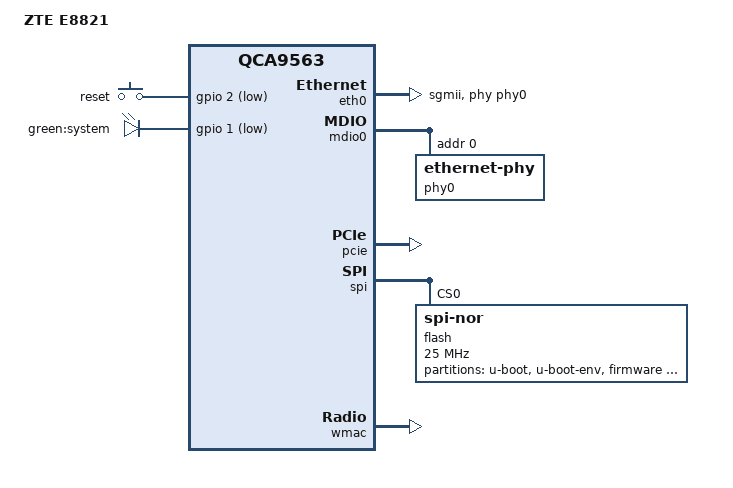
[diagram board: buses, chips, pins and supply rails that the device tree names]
// SPDX-License-Identifier: GPL-2.0-or-later OR MIT
//
// ZTE E8821 (QCA9563 + QCA9882 + QCA8337N, AC1200, 5 x GE)
//
// 骨架来源：OpenWrt master target/linux/ath79/dts/qca9563_yuncore_xd3200.dts
//          + qca9563_yuncore_xd4200.dtsi
// 选择理由（不是"看起来像"，是三项硬指标完全一致）：
//   1) 5G 芯片同族：XD3200 用 ath10k-firmware-qca988x-ct  → 9880/9882
//      而 XD4200 用 qca9888-ct → 9886/9888，两者校准格式不同，不能混用
//   2) 5G 校准同长度：art 0x5000 起 0x844 字节（9888 是 0x2f20，差 5.7 倍）
//   3) Flash 布局同为 16MB：u-boot 0x0/0x40000 + u-boot-env + firmware 0x50000/0xfa0000 + art 0xff0000
//
// 与 master 版 XD3200 的差异（因 18.06-k5.4 是内核 5.4，用 hotplug 提校准而非 nvmem-cells）：
//   - master 里 &pcie 的 wifi@0,0 { nvmem-cells = <&cal_art_5000> } 在 18.06 下改为空 &pcie，
//     校准由 11-ath10k-caldata 输出 ath10k/cal-pci-0000:00:00.0.bin 完成
//   - master 里 &wmac { nvmem-cells = <&cal_art_1000> } 在 18.06 下写作 mtd-cal-data = <&art 0x1000>
//
// ⚠️ 待实测项（不能猜，标 TODO）：
//   - LED / 复位键 GPIO
//   - 交换机端口映射（哪口是 WAN）→ 02_network 里由 diy-part2.sh [25] 段注入，
//     现按 ath79 5 口标准写法 "0@eth0" "1:lan" "2:lan" "3:lan" "4:lan" "5:wan"
//   - art 分区偏移（16MB 硬改 + breed 0x5000 布局，通常 0xff0000）

#include "qca956x.dtsi"

#include <dt-bindings/gpio/gpio.h>
#include <dt-bindings/input/input.h>

/ {
	compatible = "zte,e8821", "qca,qca9563";
	model = "ZTE E8821";

	aliases {
		label-mac-device = &eth0;
		led-boot = &led_system;
		led-failsafe = &led_system;
		led-running = &led_system;
		led-upgrade = &led_system;
	};

	keys {
		compatible = "gpio-keys";

		reset {
			label = "reset";
			linux,code = <KEY_RESTART>;
			// TODO: E8821 实测。沿用 XD4200 参考设计的 GPIO2，错了会导致
			//       无法长按复位 / 误触发，但不影响开机。
			gpios = <&gpio 2 GPIO_ACTIVE_LOW>;
			debounce-interval = <60>;
		};
	};

	leds {
		compatible = "gpio-leds";

		led_system: system {
			label = "green:system";
			// TODO: E8821 实测。XD3200 用 GPIO1(低有效)，E8821 灯位需对表。
			gpios = <&gpio 1 GPIO_ACTIVE_LOW>;
			default-state = "keep";
		};
	};
};

&eth0 {
	status = "okay";

	pll-data = <0x03000101 0x00000101 0x00001919>;

	nvmem-cells = <&macaddr_art_0>;
	nvmem-cell-names = "mac-address";
	phy-mode = "sgmii";
	phy-handle = <&phy0>;
};

&mdio0 {
	status = "okay";

	phy-mask = <0>;

	// QCA8337N：port0 走 SGMII 接 SoC eth0（PORT0 PAD MODE CTRL = 0x00080080），
	// PHY 1~5 对应 5 个千兆口。initvals 与 XD4200/WPJ563/E1700AC 同一套（ar8327 驱动通用）。
	phy0: ethernet-phy@0 {
		reg = <0>;
		phy-mode = "sgmii";
		qca,mib-poll-interval = <500>;

		qca,ar8327-initvals = <
			0x04 0x00080080 /* PORT0 PAD MODE CTRL */
			0x10 0x81000080 /* POWER_ON_STRAP */
			0x50 0xcf37cf37 /* LED_CTRL0 */
			0x54 0xcf37cf37 /* LED_CTRL1 */
			0x58 0xcf37cf37 /* LED_CTRL2 */
			0x5c 0x0000c300 /* LED_CTRL3 */
			0x7c 0x0000007e /* PORT0_STATUS */
		>;
	};
};

&pcie {
	status = "okay";

	// QCA9882 = pci168c,003c。18.06 的 ath10k 会自动探测，不需要 wifi@0,0 子节点。
	// 千万不要照抄 18.06 xd4200.dtsi 里的 compatible = "pci168c,0056"（那是 9886）。
};

&spi {
	status = "okay";

	flash@0 {
		compatible = "jedec,spi-nor";
		reg = <0>;
		spi-max-frequency = <25000000>;

		partitions {
			compatible = "fixed-partitions";
			#address-cells = <1>;
			#size-cells = <1>;

			partition@0 {
				label = "u-boot";
				reg = <0x000000 0x040000>;
				read-only;
			};

			partition@40000 {
				label = "u-boot-env";
				reg = <0x040000 0x010000>;
			};

			partition@50000 {
				compatible = "denx,uimage";
				label = "firmware";
				reg = <0x050000 0xfa0000>;
			};

			// art 必须叫这个 label：wmac 的 mtd-cal-data 和
			// 11-ath10k-caldata 的 caldata_extract "art" 都靠它取数。
			art: partition@ff0000 {
				label = "art";
				reg = <0xff0000 0x010000>;
				read-only;
			};
		};
	};
};

&wmac {
	status = "okay";

	// 2.4G 校准：art 0x1000，长度 0x440
	mtd-cal-data = <&art 0x1000>;
};

&art {
	compatible = "nvmem-cells";
	#address-cells = <1>;
	#size-cells = <1>;

	macaddr_art_0: macaddr@0 {
		reg = <0x0 0x6>;
	};
};
